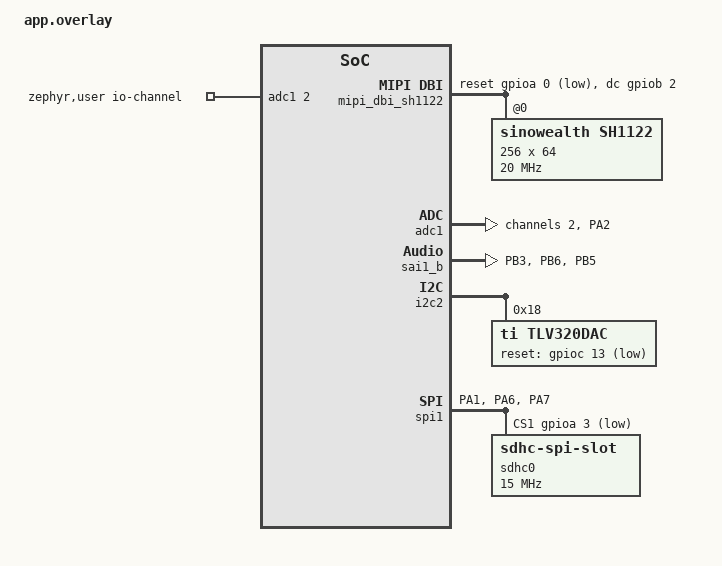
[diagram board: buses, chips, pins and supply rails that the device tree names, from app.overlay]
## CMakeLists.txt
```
cmake_minimum_required(VERSION 3.20.0)
set(CMAKE_EXPORT_COMPILE_COMMANDS ON)

set(BOARD blackpill_u585ci)

find_package(Zephyr REQUIRED HINTS $ENV{ZEPHYR_BASE})
project(stplayer)

aux_source_directory(src app_sources)

target_sources(app PRIVATE 
    src/main.c 
    src/sd_storage.c 
    src/opus_file.c 
    src/audio_playback.c
)
target_include_directories(app PRIVATE include)
```

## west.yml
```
manifest:
  remotes:
    - name: pdgendt
      url-base: https://github.com/pdgendt
  projects:
    - name: opus
      revision: zephyr
      path: modules/lib/opus
      remote: pdgendt
```

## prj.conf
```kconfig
# Audio
CONFIG_I2S=y
CONFIG_I2S_STM32_SAI=y
CONFIG_DMA=y
CONFIG_DMA_STM32U5=y

CONFIG_ADC=y
CONFIG_ADC_STM32=y

CONFIG_DMA_LOG_LEVEL_DBG=y
CONFIG_I2S_LOG_LEVEL_DBG=y
CONFIG_OPUS=y

CONFIG_AUDIO=y
CONFIG_AUDIO_CODEC_LOG_LEVEL_DBG=y
CONFIG_AUDIO_CODEC=y
CONFIG_I2C=y
CONFIG_I2C_STM32=y
CONFIG_GPIO=y
CONFIG_AUDIO_TLV320DAC=y

# Display
CONFIG_SPI_STM32=y
CONFIG_DISPLAY=y
CONFIG_SH1122=y
CONFIG_SH1122_DEFAULT_CONTRAST=128
CONFIG_MIPI_DBI_SPI=y

# LVGL stuff
CONFIG_LVGL=y
CONFIG_LV_Z_AREA_X_ALIGNMENT_WIDTH=2
CONFIG_LV_USE_LOG=y
CONFIG_LV_FONT_DEFAULT_MONTSERRAT_12=y
CONFIG_LV_Z_MEM_POOL_SIZE=16384
CONFIG_LV_CONF_MINIMAL=n
CONFIG_LV_USE_LABEL=y

# sd config
CONFIG_SPI=y

CONFIG_SDHC=y
CONFIG_SPI_SDHC=y

CONFIG_FILE_SYSTEM=y
CONFIG_FAT_FILESYSTEM_ELM=y
CONFIG_FS_FATFS_LFN=y

# Disk Access
CONFIG_DISK_ACCESS=y
CONFIG_DISK_DRIVERS=y
CONFIG_DISK_DRIVER_SDMMC=y

CONFIG_LOG=y
CONFIG_LOG_SPEED=y
CONFIG_LOG_BUFFER_SIZE=2000
CONFIG_CONSOLE=y
CONFIG_SERIAL=y
CONFIG_UART_CONSOLE=y

CONFIG_HEAP_MEM_POOL_SIZE=8000
CONFIG_MAIN_STACK_SIZE=16000
CONFIG_SYSTEM_WORKQUEUE_STACK_SIZE=4096
```

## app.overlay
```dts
// LSE and flash disabled since I don't need either. (lse is just burnt on my board :/)
&flash {
    status = "disabled";
};

&clk_lse {
	status = "disabled";
};

&pinctrl {
   adc1_in2: adc1-in2 {
       pinmux = <STM32_PINMUX('A', 2, ANALOG)>;
   };
   
   // SAI for i2s DAC
   pinctrl_sai1_bclk: sai1_b_bclk {
        pinmux = <STM32_PINMUX('B', 3, AF13)>/* bclk */; 
   };
   pinctrl_sai1_ws: sai1_b_ws {
        pinmux = <STM32_PINMUX('B', 6, AF13)> /* ws */ ; 
   };
   pinctrl_sai1_di: sai1_b_di {
        pinmux = <STM32_PINMUX('B', 5, AF13)>; // din
   };
  
   // SPI For display and SD card
   pinctrl_spi1_sck: spi1_pins_sck {
        pinmux = <STM32_PINMUX('A', 1, AF5)> /* sck */; 
   };
   pinctrl_spi1_miso: spi1_pins_miso {
        pinmux = <STM32_PINMUX('A', 6, AF5)> /* miso */; 
   };
   pinctrl_spi1_mosi: spi1_pins_mosi {
        pinmux = <STM32_PINMUX('A', 7, AF5)>; /* mosi */
   };
};

&adc1 {
    status = "okay";
    #address-cells = <1>;
    #size-cells = <0>;
    pinctrl-0 = <&adc1_in2>;


    channel@2 {
        reg = <2>; 
        zephyr,gain = "ADC_GAIN_1";
        zephyr,reference = "ADC_REF_INTERNAL";
        zephyr,acquisition-time = <ADC_ACQ_TIME_DEFAULT>;
        zephyr,resolution = <12>; 
        zephyr,input-positive = <2>;
    };
};

/* 
Setup for the audio device. This mcu uses a sai peripheral
*/
&gpdma1 {
    compatible = "st,stm32u5-dma";
    status = "okay";
};

&sai1_b {
    compatible = "st,stm32-sai";
    status = "okay";
    pinctrl-0 = <&pinctrl_sai1_bclk &pinctrl_sai1_ws &pinctrl_sai1_di>;
    pinctrl-names = "default";
    dma-names = "tx";
};

&i2c2 {
    status = "okay";

    codec0: tlv320dac@18 {
        compatible = "ti,tlv320dac";
        reg = <0x18>; 
        label = "TLV320DAC";
        reset-gpios = <&gpioc 13 GPIO_ACTIVE_LOW>;
        status = "okay";
    };
};


/*
SD card setup, uses the same spi as the display
*/
&spi1 {
    pinctrl-0 = <&pinctrl_spi1_sck &pinctrl_spi1_miso &pinctrl_spi1_mosi>;
    pinctrl-names = "default";
    status = "okay";

    cs-gpios = <&gpiob 1 GPIO_ACTIVE_LOW>, <&gpioa 3 GPIO_ACTIVE_LOW>;
    sdhc0: sdhc@1 {
        compatible = "zephyr,sdhc-spi-slot";
        status = "okay";
        reg = <1>;

        mmc {
            compatible = "zephyr,sdmmc-disk";
            status = "okay";
            disk-name = "SD";
        };
        spi-max-frequency = <15000000>;
    };
};


/ {
    chosen {
        zephyr,display = &sh1122;
    };
    zephyr,user {
        io-channels = <&adc1 2>;
    };

    mipi_dbi_sh1122: mipi_dbi_sh1122 {
        compatible = "zephyr,mipi-dbi-spi";
        spi-dev = <&spi1>;

        dc-gpios = <&gpiob 2 GPIO_ACTIVE_HIGH>;
        reset-gpios = <&gpioa 0 GPIO_ACTIVE_LOW>;
        
        write-only;
        #address-cells = <1>; 
        #size-cells = <0>;

        sh1122: sh1122@0 {
            compatible = "sinowealth,sh1122";
            mipi-max-frequency = <20000000>;
            reg = <0>;
            width = <256>;
            height = <64>;
            oscillator-freq = <0xA0>;
            multiplex-ratio = <63>;
            display-offset = <0>;
            start-line = <0>;
            low-voltage = <0x0>;
            dc-dc = <0x80>;
            precharge-voltage = <0x1A>;
            phase-length = <0x76>;
            vcomh-voltage = <0x3B>;
            mipi-mode = "MIPI_DBI_MODE_SPI_4WIRE";
        };
    };
    // pll2 setup for sai audio device 
    clocks {
        pll2: pll2 {
            compatible = "st,stm32u5-pll-clock";
            status = "okay";
            clocks = <&clk_hse>;
            div-m = <5>;
            mul-n = <59>;
            div-p = <6>;
            div-q = <2>;
            div-r = <2>;
        };
    };
};
```

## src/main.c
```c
#include <stddef.h>
#include <stdint.h>

#include <zephyr/kernel.h>
#include <zephyr/device.h>
#include <zephyr/devicetree.h>
#include <zephyr/logging/log.h>
#include <zephyr/drivers/i2s.h>
#include <zephyr/drivers/display.h>
#include <zephyr/drivers/adc.h>
#include <ff.h>

#include <lvgl.h>
#include <lvgl_zephyr.h>
#include <core/lv_obj_pos.h>
#include <core/lv_obj_style_gen.h>
#include <display/lv_display.h>
#include <misc/lv_area.h>
#include <misc/lv_color.h>

#include "sd_storage.h"
#include "audio_playback.h"

LOG_MODULE_REGISTER(main);

#define DISP_NODE DT_NODELABEL(sh1122)
static const struct device *disp;

static const struct adc_dt_spec adc_chan =ADC_DT_SPEC_GET(DT_PATH(zephyr_user));

#define AUDIO_THREAD_PRIO 1
#define INPUT_THREAD_PRIO 2

K_PIPE_DEFINE(pipe, 256, 4);

uint16_t read_potentiometer(const struct adc_dt_spec *adc_cha)
{
    int ret;
    uint16_t buf;
    struct adc_sequence sequence = {
        .buffer = &buf,
        .buffer_size = sizeof(buf),
        .oversampling = 4
    };

    if (!device_is_ready(adc_cha->dev)) {
        printk("ADC device not ready\n");
        return -1;
    }

    ret = adc_sequence_init_dt(adc_cha, &sequence);
    if (ret != 0) {
        printk("Failed to initialize ADC sequence: %d\n", ret);
        return ret;
    }

    ret = adc_read(adc_cha->dev, &sequence);
    if (ret != 0) {
        printk("Failed to read ADC: %d\n", ret);
        return ret;
    }

    return buf;
} 

int main(void)
{
    setup_disk();
	int ret;
    disp = DEVICE_DT_GET(DISP_NODE);
    if(!device_is_ready(disp)) {
        LOG_ERR("Display is not ready");
        return 1;
    }

    display_blanking_off(disp);
    
    lv_obj_clean(lv_screen_active());
    lv_obj_set_style_bg_color(lv_screen_active(), lv_color_black(), LV_PART_MAIN);
    lv_obj_set_style_text_color(lv_screen_active(), lv_color_white(), LV_PART_MAIN);

    lv_obj_t *list = lv_list_create(lv_screen_active());
    lv_obj_set_style_bg_color(list, lv_color_black(), 0);
    lv_obj_set_size(list, 256,64);

    populate_list_with_files(list);
    
    lv_refr_now(NULL);
    k_msleep(50);
    ret = adc_channel_setup_dt(&adc_chan);
    if (ret < 0) {
        return ret;
    }
     
    lv_obj_t *label = lv_label_create(lv_screen_active());
    lv_obj_align(label, LV_ALIGN_CENTER, 0, 0);

    audio_thread_msg audioMessage;

    audioMessage.msg_type = PLAY;
    strncpy(audioMessage.song_path, "/SD:/Ado - MIRROR.opus", sizeof(audioMessage.song_path));
    ret = k_pipe_write(&pipe, (uint8_t *) &audioMessage, sizeof(audioMessage), K_FOREVER);
    if (ret > 0) {
        LOG_INF("Wrote %d bytes", ret);
    } else if (ret != -EAGAIN) {
        LOG_ERR("Write error %d", ret);
    }
    
    while(1) {
        uint16_t volume = read_potentiometer(&adc_chan);
        audioMessage.msg_type = VOL;
        audioMessage.volume = volume;
        int ret = k_pipe_write(&pipe, (uint8_t *) &audioMessage, sizeof(audioMessage), K_FOREVER);
        if (ret > 0) {
        } else if (ret != -EAGAIN) {
            LOG_ERR("Write error %d", ret);
        }
        lv_timer_handler();

        lv_label_set_text_fmt(label, "%d", volume);
    }
    return 0;
}

K_THREAD_DEFINE(audio_tid, 20000, audio_handler_thread, &pipe, NULL, NULL, AUDIO_THREAD_PRIO, 0, 200);
```

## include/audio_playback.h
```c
#pragma once

#include <zephyr/kernel.h>
#include <zephyr/drivers/dma.h>
#include <zephyr/drivers/adc.h>
#include <opus.h>

#define SAMPLE_RATE 48000
#define SAMPLE_NO 2880
#define NUM_BLOCKS 2
#define CHANNELS 2
#define BLOCK_SIZE (SAMPLE_NO * CHANNELS * sizeof(int16_t))

#define I2S_DEV DT_NODELABEL(i2s3)

int stream_opus(const char *path, const struct adc_dt_spec *adc_chan);
int init_audio_playback();

void audio_handler_thread(void *pipeP, void *arg2, void *arg3);

enum message_type {PLAY, PAUSE, RESUME, VOL, DEF};

typedef struct {
    enum message_type msg_type;
    int volume;
    char song_path[64];
} audio_thread_msg;
```

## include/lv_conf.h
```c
#define LV_COLOR_DEPTH 16
#define LV_TICK_CUSTOM 1
```

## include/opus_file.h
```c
#pragma once

#include <zephyr/kernel.h>

#include <zephyr/fs/fs.h>
#include <zephyr/fs/fs_sys.h>
#include <zephyr/storage/flash_map.h>
#include <ff.h>

typedef struct {
    uint8_t segment_lengths[255];
    uint8_t page_segment_count;
    uint8_t segment_pos;
    uint8_t remaining_segments;

    _Bool is_eos_page;
} opus_state_t;

#define OGG_HEADER_SIZE 27
#define OPUS_HEAD_SIZE  19

#define OP_EOF   -1 // Eof for ogg file
#define OP_NOOGG -2 // Not ogg file
#define OP_MISS  -3 // Missmatching size
#define OP_NOOPUS -5 // File not opus
#define OP_NOTAGS -6 // Missing opus tags
#define OP_ZERO   -7 // zero length opus packet
#define OP_TOOLARGE -8 // Opus packet exceedes limit

#define OP_OK     1 // Success
#define OP_DONE   2 // Done reading ogg container

uint16_t opus_verify_header(struct fs_file_t* fp, opus_state_t *state);

void opus_state_init(opus_state_t *st);

int opus_get_packet(opus_state_t *st, uint8_t *buff, uint16_t *pack_size, struct fs_file_t *fp);
```

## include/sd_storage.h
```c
#pragma once

#include <stdint.h>
#include <zephyr/fs/fs.h>
#include <ff.h>
#include <lvgl.h>

bool is_mounted(void);

void setup_disk(void);
int populate_list_with_files(lv_obj_t *list);
```

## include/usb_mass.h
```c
#pragma once

#include <stdint.h>
#include <zephyr/fs/fs.h>
#include <ff.h>
#include <lvgl.h>

//#define STORAGE_PARTITION		    storage_partition
//#define STORAGE_PARTITION_ID		FIXED_PARTITION_ID(STORAGE_PARTITION)

bool is_mounted(void);

void setup_disk(void);
int populate_list_with_files(lv_obj_t *list);
```

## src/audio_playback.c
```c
#include "audio_playback.h"
#include "opus_defines.h"
#include "syscalls/kernel.h"
#include "zephyr/kernel.h"

#include <math.h>
#include <string.h>
#include <zephyr/logging/log.h>
#include <opus.h>
#include <zephyr/drivers/dma.h>
#include <zephyr/drivers/i2s.h>
#include <zephyr/audio/codec.h>
#include <zephyr/fs/fs.h>

#include "opus_file.h"

LOG_MODULE_REGISTER(audio_playback, LOG_LEVEL_DBG);

static const struct device *i2s_dev = DEVICE_DT_GET(DT_NODELABEL(sai1_b));

static uint8_t opus_packet[1275];
static opus_state_t op_state;
static struct fs_file_t filep;
OpusDecoder *decoder;

K_MEM_SLAB_DEFINE_STATIC(tx_0_mem_slab, WB_UP(BLOCK_SIZE), NUM_BLOCKS, 32);

static int start_i2s_dma() {
    LOG_INF("Pre-filling DMA buffers");
    int ret;
    
    for (int i = 0; i < 2; i++){
        void *init_block;
        ret = k_mem_slab_alloc(&tx_0_mem_slab, &init_block, K_FOREVER);
        if (ret < 0) {
            LOG_ERR("TX block alloc failed: %d\n", ret);
            return ret;
        }
        memset(init_block, 0, BLOCK_SIZE);

        ret = i2s_write(i2s_dev, init_block, BLOCK_SIZE);
        if (ret < 0) {
            LOG_ERR("i2s_write initial block failed: %d", ret);
            k_mem_slab_free(&tx_0_mem_slab, &init_block);
        }
    }

    LOG_INF("Starting i2s DMAs");
    ret = i2s_trigger(i2s_dev, I2S_DIR_TX, I2S_TRIGGER_START);
    if (ret) {
        LOG_ERR("I2S trigger start failed: %d", ret);
        return -1;
    }
    return 0;
}

static int stop_i2s_dma() {
    LOG_INF("Stopping i2s DMAs");
    int ret = i2s_trigger(i2s_dev, I2S_DIR_TX, I2S_TRIGGER_DRAIN);
    if (ret < 0) {
        LOG_ERR("Failed to stop i2s with drain: %d", ret);
        return ret;
    }
    return 0;
}

void play_opus_packet(bool *isPlaying, int discard_cnt, uint16_t volume) {
    void * block = NULL;
    uint16_t packet_size;
    int rcf = opus_get_packet(&op_state, opus_packet, &packet_size, &filep);
    if (rcf != OP_OK && rcf != OP_DONE) {
        fs_close(&filep);
        opus_decoder_ctl(decoder, OPUS_RESET_STATE);
        stop_i2s_dma();
        *isPlaying = false;
        return;
    }

    int rc = k_mem_slab_alloc(&tx_0_mem_slab, &block, K_FOREVER);
    if (rc < 0) {
        LOG_ERR("Block allocation failed: %d", rc);
        *isPlaying = false;
        return;
    }
    int oprc = opus_decode(decoder, opus_packet, packet_size, block, SAMPLE_NO, 0);

    if (discard_cnt > 0) {
        size_t discard_samples = discard_cnt * 2;

        if (discard_samples > (size_t)oprc) {
            LOG_ERR("Discard too large");
        }

        int16_t *audio_data = (int16_t *)block;
        memmove(audio_data, 
                audio_data + discard_samples,  // skip discards
                (oprc - discard_samples) * sizeof(int16_t));

        oprc -= discard_samples;
    }

    rc = i2s_write(i2s_dev, block, BLOCK_SIZE);
    if (rc < 0) {
        LOG_ERR("i2s_write failed: %d", rc);
        k_mem_slab_free(&tx_0_mem_slab, &block);
        *isPlaying = false;
        return;
    }

    // Done with file
    if (rcf == OP_DONE) {
        LOG_INF("Done with file");
        fs_close(&filep);
        opus_decoder_ctl(decoder, OPUS_RESET_STATE);
        stop_i2s_dma();
        *isPlaying = false;
        return;
    }
}

void audio_handler_thread(void *pipeP, void *arg2, void *arg3) {
    LOG_INF("Started audio");
    struct k_pipe* pipe = (struct k_pipe*) pipeP;
    int ret = init_audio_playback();
    if (ret < 0) {
        LOG_INF("Failed audio Init");
        return;
    }

    bool isPlaying = false;
    
    uint16_t discard_cnt = 0;
    uint16_t volume = 0;
    while(1) {
        audio_thread_msg receivedMessage;
        receivedMessage.msg_type = DEF;
        int ret = k_pipe_read(pipe, (uint8_t *) &receivedMessage, sizeof(audio_thread_msg), K_NSEC(1));
        if (ret < 0 && ret != -EAGAIN) {
            LOG_ERR("Read pipe error %d", ret);
        }

        switch(receivedMessage.msg_type) {
            case PLAY:
                // Set up a new opus file to be played
                int rc;
                isPlaying = true;
                fs_file_t_init(&filep);

                if ((rc = fs_open(&filep, receivedMessage.song_path, FS_O_READ)) < 0) {
                    LOG_ERR("fs_open failed: %d", rc); 
                    continue;
                }

                rc = start_i2s_dma();
                if (rc < 0) {
                    fs_close(&filep);
                    opus_decoder_ctl(decoder, OPUS_RESET_STATE);
                    stop_i2s_dma();
                    continue;
                }

                opus_state_init(&op_state);

                discard_cnt = opus_verify_header(&filep, &op_state); 
                if (discard_cnt < 0) {
                    fs_close(&filep);
                    stop_i2s_dma();
                }

                discard_cnt *= 2; 
            break;
            case VOL:
                volume = receivedMessage.volume; 
            break;
            case DEF:
            break;
            default:
                LOG_INF("Got message type %d", receivedMessage.msg_type);
            break;
        }

        if (isPlaying) {
            play_opus_packet(&isPlaying, discard_cnt, volume);
            // Discard count should be 0 after first packet
            if (discard_cnt > 0) discard_cnt = 0;
        }

    }
}
static const struct device *codec;
void codec_initialize(void) {
    codec = DEVICE_DT_GET(DT_NODELABEL(codec0));
    if(!device_is_ready(codec)) {
        LOG_ERR("CODEC not ready");
        return;
    }

    struct audio_codec_cfg cfg = {0};
    cfg.dai_route = AUDIO_ROUTE_PLAYBACK;
    cfg.dai_type = AUDIO_DAI_TYPE_I2S;
    cfg.mclk_freq = 12288000;

    cfg.dai_cfg.i2s.word_size = 16;
    cfg.dai_cfg.i2s.channels = CHANNELS;
    cfg.dai_cfg.i2s.format = I2S_FMT_DATA_FORMAT_I2S | I2S_FMT_DATA_ORDER_MSB;
    cfg.dai_cfg.i2s.options         = I2S_OPT_FRAME_CLK_SLAVE | I2S_OPT_BIT_CLK_SLAVE;
    cfg.dai_cfg.i2s.frame_clk_freq = SAMPLE_RATE;
    cfg.dai_cfg.i2s.block_size = BLOCK_SIZE;
    cfg.dai_cfg.i2s.mem_slab = &tx_0_mem_slab;
    
    int rc = audio_codec_configure(codec, &cfg);
    if (rc) {
        LOG_ERR("Audio configure failed: %d", rc);
        return;
    }    


    audio_codec_start_output(codec);
    
    audio_property_value_t v = {.vol = -40};
    rc = audio_codec_set_property(codec, AUDIO_PROPERTY_OUTPUT_VOLUME, AUDIO_CHANNEL_ALL, v);
    if(rc) {
        LOG_ERR("Failed to set volume");
        return;
    }
}

static int configure_i2s() {
    int ret;
    if (!device_is_ready(i2s_dev)) {
        LOG_ERR("I2S device not ready\n");
        return -1;
    }
    
    struct i2s_config cfg = {
        .word_size       = 16,
        .channels        = CHANNELS,
        .format          = I2S_FMT_DATA_FORMAT_I2S | I2S_FMT_DATA_ORDER_MSB,
        .options         = I2S_OPT_BIT_CLK_MASTER | I2S_OPT_FRAME_CLK_MASTER,
        .frame_clk_freq  = SAMPLE_RATE,
        .block_size      = BLOCK_SIZE,
        .timeout         = 2000,
        .mem_slab = &tx_0_mem_slab,
    };

    LOG_INF("Configuring I2S");
    
    ret = i2s_configure(i2s_dev, I2S_DIR_TX, &cfg);
    if (ret) {
        printk("I2S config failed: %d\n", ret);
        return -1;
    }

    return 0;
}

int init_audio_playback() { 
    int ret;
    decoder = opus_decoder_create(SAMPLE_RATE, CHANNELS, &ret);
    if (ret != OPUS_OK) {
        LOG_ERR("Failed to create decoder: %d", ret);
        return ret;
    }

    int size = opus_decoder_get_size(CHANNELS);
    LOG_INF("Opus decoder size: %d", size);

    ret = configure_i2s();
    if (ret < 0) {
        return ret;
    }

    codec_initialize();
    return 0;
}
```

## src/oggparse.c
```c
#include <zephyr/kernel.h>
#include <zephyr/logging/log.h>

LOG_MODULE_REGISTER(oggparse)

#define MAX_OPUS_PACKET_SIZE 2000
#define OGG_PAGE_HEADER_SIZE 27

struct ogg_parser {
    uint8_t state;
    uint8_t header[OGG_PAGE_HEADER_SIZE];
    uint8_t seg_table[255];
    size_t header_bytes;
    size_t seg_table_bytes;
    uint8_t nsegs;
    uint8_t current_seg;
    uint16_t current_seg_remaining;
    uint8_t packet_buf[MAX_OPUS_PACKET_SIZE];
    size_t packet_size;
    bool headers_done;
    uint32_t packet_count;
};

enum parser_state {
    STATE_HEADER,
    STATE_SEGMENT_TABLE,
    STATE_SEGMENTS
};


void ogg_parser_init(struct ogg_parser *p) {
    memset(p, 0, sizeof(*p));
    p->state = STATE_HEADER;
}
```

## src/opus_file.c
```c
#include "opus_file.h"
#include "zephyr/kernel.h"
#include "zephyr/logging/log_core.h"

#include <zephyr/logging/log.h>

LOG_MODULE_REGISTER(opus_file, LOG_LEVEL_DBG);

static uint8_t ogg_header[OGG_HEADER_SIZE];
uint16_t opus_verify_header(struct fs_file_t* fp, opus_state_t *state) {
    size_t rd = fs_read(fp, ogg_header, OGG_HEADER_SIZE);
    if (rd != OGG_HEADER_SIZE) {
        LOG_ERR("OGG header size read did not match: got %d : expected %d", (int) rd, OGG_HEADER_SIZE);
        return OP_MISS;
    }
    
    if (memcmp(ogg_header, "OggS", 4) != 0) {
        LOG_ERR("File is not valid OGG");
        return OP_NOOGG;
    }

    
    
    uint8_t segment_num = ogg_header[26];
 
    fs_seek(fp, segment_num, FS_SEEK_CUR);

    static uint8_t opus_head[OPUS_HEAD_SIZE];

    rd = fs_read(fp, opus_head, OPUS_HEAD_SIZE);
    if (rd != OPUS_HEAD_SIZE) {
        LOG_ERR("OPUSHEAD size read did not match: got %d : expected %d", (int) rd, OGG_HEADER_SIZE);
        return OP_MISS;
    }



    static const char opus_magic [] = "OpusHead";
    if (memcmp(opus_head, opus_magic, 8) != 0) {
        LOG_ERR("File is not an opus ogg");
        return OP_NOOPUS;
    }

    LOG_DBG("Stream version: %d", opus_head[8]);

    LOG_DBG("Channel count: %d", opus_head[9]);
    uint16_t discard_samples = ((uint16_t) opus_head[10]) | ((uint16_t)opus_head[11] << 8);
    LOG_DBG("Discard samples: %d", discard_samples);
    uint32_t sample_rate = ((uint32_t) opus_head[12]) | ((uint32_t) opus_head[13] << 8) | ((uint32_t) opus_head[14] << 16) | ((uint32_t) opus_head[15] << 24);
    LOG_DBG("Sample rate: %d", sample_rate);
    uint16_t output_gain = ((uint16_t) opus_head[16]) | ((uint16_t) opus_head[17] << 8);
    LOG_DBG("Output gain: %d", output_gain);
    
    rd = fs_read(fp, ogg_header, OGG_HEADER_SIZE);
    if (rd != OGG_HEADER_SIZE) {
        LOG_ERR("OGG header size read did not match: got %d : expected %d", (int) rd, OGG_HEADER_SIZE);
        return OP_MISS;
    }
    
    if (memcmp(ogg_header, "OggS", 4) != 0) {
        LOG_ERR("Second page is not valid OGG");
        return OP_NOOGG;
    }

    segment_num = ogg_header[26];

    char segment_table[segment_num];
    rd = fs_read(fp, segment_table, segment_num);
    if (rd != segment_num) {
        LOG_ERR("Did not read enough segment lengths");
        return OP_MISS;
    }
    
    uint16_t opus_tags_size = 0;
    for (uint8_t i = 0; i < segment_num; i++) {
        opus_tags_size += (uint8_t) segment_table[i];
    }

    
    char opus_tags[opus_tags_size];
    rd = fs_read(fp, opus_tags, (uint16_t) opus_tags_size);
    if (rd != opus_tags_size) {
        LOG_ERR("Did not read enough segment lengths for opusTags");
        return OP_MISS;
    }


    if(memcmp("OpusTags", opus_tags, 8) != 0) {
        LOG_ERR("OpusTags does not exist");
        return OP_NOTAGS;
    }
    
    uint32_t vendor_len = ((uint32_t) opus_tags[8]) | ((uint32_t) opus_tags[9] << 8) | ((uint32_t) opus_tags[10] << 16) | ((uint32_t) opus_tags[11] << 24);
    LOG_DBG("%.*s", vendor_len, opus_tags + 12);

    uint32_t new_ptr = 12 + vendor_len;

    uint32_t user_comment_count =((uint32_t) opus_tags[new_ptr]) | ((uint32_t) opus_tags[new_ptr + 1] << 8) | ((uint32_t) opus_tags[new_ptr + 2] << 16) | ((uint32_t) opus_tags[new_ptr + 3] << 24); 
    LOG_DBG("User comment count: %"PRIu32"", (uint32_t) user_comment_count);

    new_ptr += 4;
    
    LOG_DBG("User tags: ");
    for (uint32_t i = 0; i < user_comment_count; i++) {
        uint32_t comment_len = ((uint32_t) opus_tags[new_ptr]) | ((uint32_t) opus_tags[new_ptr + 1] << 8) | ((uint32_t) opus_tags[new_ptr + 2] << 16) | ((uint32_t) opus_tags[new_ptr + 3] << 24);
        new_ptr += 4;
        LOG_DBG("%.*s", comment_len, opus_tags + new_ptr);
        new_ptr += comment_len;
    }

    return discard_samples;
}

void opus_state_init(opus_state_t *st) {
    memset(st, 0, sizeof(opus_state_t));
}

static int _opus_open_page(opus_state_t *st, struct fs_file_t *fp) {
    size_t rd;
    rd = fs_read(fp, ogg_header, OGG_HEADER_SIZE);
    if(rd != OGG_HEADER_SIZE) {
        LOG_ERR("Failed to read OGG header");
        return OP_MISS;
    }

    if (memcmp("OggS", ogg_header, 4) != 0) {
        LOG_ERR("Next segment is not OggS stream");
        return OP_NOOGG;
    }
    uint8_t segment_count = ogg_header[26];

    uint8_t header_type = ogg_header[5];
    st->is_eos_page = (header_type & 0x04) != 0;
    if (st->is_eos_page) {
        LOG_DBG("Reached last stream page");
    }

    st->remaining_segments = segment_count;
    st->page_segment_count = segment_count;
    st->segment_pos = 0;

    rd = fs_read(fp, st->segment_lengths, segment_count);
    if (rd != segment_count) {
        LOG_ERR("Read segment count does not match real segment count");
        return OP_MISS;
    }

    return OP_OK;
}

int opus_get_packet(opus_state_t *st, uint8_t *buff, uint16_t *pack_size, struct fs_file_t *fp) {

    size_t rd;
    int res;
    
    // If we should start reading the next page
    if (st->remaining_segments == 0) {
        res = _opus_open_page(st, fp); 
        if (res < 0) return res;
    }
    
    uint16_t opus_len = 0;
    while(1) {
        if (st->remaining_segments == 0) {
            LOG_DBG("Page wrap occured");
            res = _opus_open_page(st, fp);
            if (res < 0) return res;
        }

        uint8_t seg = st->segment_lengths[st->segment_pos];
        opus_len += seg;

        st->remaining_segments -= 1;
        st->segment_pos += 1;

        if(st->segment_pos >= st->page_segment_count) {
            st->segment_pos = st->page_segment_count;
        }

        if (seg < 255) break;
    } 

    if (opus_len == 0) {
        LOG_ERR("Opus packet length 0");
        return OP_ZERO;
    }

    if(opus_len > 0xFFFF) {
        LOG_ERR("Opus packet exceeded RFC limit");
        return OP_TOOLARGE;
    }

    *pack_size = opus_len;
    
    rd = fs_read(fp, buff, opus_len);
    if (rd != opus_len) {
        LOG_ERR("Read bytes missmatch actual opus len:real  %d  vs  %d", rd, opus_len);
        return OP_MISS;
    }

    if (st->remaining_segments == 0 && st->is_eos_page) {
        return OP_DONE;
    }

    return OP_OK;
}
```

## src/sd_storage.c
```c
#include "sd_storage.h"

#include "core/lv_obj.h"
#include "misc/lv_color.h"
#include "zephyr/kernel.h"
#include "zephyr/logging/log.h"
#include <stdbool.h>
#include <stdint.h>
#include <zephyr/storage/disk_access.h>
#include <zephyr/fs/fs.h>
#include <zephyr/fs/fs_sys.h>
#include <zephyr/storage/flash_map.h>
#include <ff.h>

#include <zephyr/device.h>



LOG_MODULE_REGISTER(sd_storage, LOG_LEVEL_DBG);

static struct fs_mount_t fs_mnt;
static bool fs_mounted = false;

static void mount_handler(struct k_work *work);
static void unmount_handler(struct k_work *work);

K_WORK_DEFINE(mount_work, mount_handler);
K_WORK_DEFINE(unmount_work, unmount_handler);

bool is_mounted(void) {
    return fs_mounted;
}

static void mount_handler(struct k_work *work) {
    if(!fs_mounted) {
        LOG_INF("Mounting due to MSC suspend");
        int res = fs_mount(&fs_mnt);
        if (res != 0) {
            LOG_ERR("Failed to mount FS: %d", res);
            return;
        }
        fs_mounted = true;
    }
}

static void unmount_handler(struct k_work *work) {
    if(fs_mounted) {
        LOG_INF("Unmounting due to MSC connect");
        int res = fs_unmount(&fs_mnt);
        if(res != 0) {
            LOG_INF("Failed to mount fs: %d", res);
            return;
        }
        fs_mounted = false;
    }
}

static int mount_app_fs(struct fs_mount_t *mnt)
{
	int rc;

	static FATFS fat_fs;

	mnt->type = FS_FATFS;
	mnt->fs_data = &fat_fs;
	mnt->mnt_point = "/SD:";

	rc = fs_mount(mnt);
    fs_mounted = true;
    printk("fs_mount returned %d for mount point %s\n", rc, mnt->mnt_point);

	return rc;
}

void setup_disk(void)
{
	struct fs_mount_t *mp = &fs_mnt;
	struct fs_dir_t dir;
	int rc;

    
	fs_dir_t_init(&dir);


    rc = disk_access_ioctl("SD", DISK_IOCTL_CTRL_INIT, NULL);
    if (rc != 0) {
        LOG_ERR("Failed to init SD: %d", rc);
        return;
    }

	rc = mount_app_fs(mp);
    printk("mount_app_fs rc = %d\n", rc);
	if (rc < 0) {
		LOG_ERR("Failed to mount filesystem");
		return;
	}

	printk("Mount %s: %d\n", fs_mnt.mnt_point, rc);

	rc = fs_opendir(&dir, mp->mnt_point);
	printk("%s opendir: %d\n", mp->mnt_point, rc);

	if (rc < 0) {
		LOG_ERR("Failed to open directory");
	}

	while (rc >= 0) {
		struct fs_dirent ent = { 0 };

		rc = fs_readdir(&dir, &ent);
		if (rc < 0) {
			LOG_ERR("Failed to read directory entries");
			break;
		}
		if (ent.name[0] == 0) {
			printk("End of files\n");
			break;
		}
		printk("  %c %u %s\n",
		       (ent.type == FS_DIR_ENTRY_FILE) ? 'F' : 'D',
		       ent.size,
		       ent.name);
	}

	(void)fs_closedir(&dir);
}

int populate_list_with_files(lv_obj_t *list) {
    struct fs_dir_t dir;
    struct fs_mount_t *mp = &fs_mnt;
    int rc;

    fs_dir_t_init(&dir);

    rc = fs_opendir(&dir, mp->mnt_point);
    if (rc < 0) {
        LOG_ERR("Failed to open directory: %d", rc);
        return rc;
    }

    int file_count = 0;
    
    while (1) {
        struct fs_dirent ent = {0};
        
        rc = fs_readdir(&dir, &ent);
        if (rc < 0) {
            LOG_ERR("Failed to read directory entry");
            break;
        }
        
        if (ent.name[0] == 0) {
            break;
        }

        if (ent.type == FS_DIR_ENTRY_FILE) {

            lv_obj_t *list_item = lv_list_add_text(list, ent.name);
            lv_obj_set_style_bg_color(list_item, lv_color_black(), LV_PART_MAIN); 
            lv_obj_set_style_text_color(list_item, lv_color_white(), 0);
            
            file_count++;
            
            printk("Added file to list: %s\n", ent.name);
        }
    }

    fs_closedir(&dir);
    LOG_INF("Added %d files to list", file_count);
    return file_count;
}
```

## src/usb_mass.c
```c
#include "usb_mass.h"

#include "core/lv_obj.h"
#include "misc/lv_color.h"
#include "zephyr/kernel.h"
#include "zephyr/logging/log.h"
#include <stdbool.h>
#include <stdint.h>
#include <zephyr/storage/disk_access.h>
#include <zephyr/fs/fs.h>
#include <zephyr/fs/fs_sys.h>
#include <zephyr/storage/flash_map.h>
#include <ff.h>

#include <zephyr/device.h>



LOG_MODULE_REGISTER(usb_mass, LOG_LEVEL_DBG);

static struct fs_mount_t fs_mnt;
static bool fs_mounted = false;

static void mount_handler(struct k_work *work);
static void unmount_handler(struct k_work *work);

K_WORK_DEFINE(mount_work, mount_handler);
K_WORK_DEFINE(unmount_work, unmount_handler);

bool is_mounted(void) {
    return fs_mounted;
}

static void mount_handler(struct k_work *work) {
    if(!fs_mounted) {
        LOG_INF("Mounting due to MSC suspend");
        int res = fs_mount(&fs_mnt);
        if (res != 0) {
            LOG_ERR("Failed to mount FS: %d", res);
            return;
        }
        fs_mounted = true;
    }
}

static void unmount_handler(struct k_work *work) {
    if(fs_mounted) {
        LOG_INF("Unmounting due to MSC connect");
        int res = fs_unmount(&fs_mnt);
        if(res != 0) {
            LOG_INF("Failed to mount fs: %d", res);
            return;
        }
        fs_mounted = false;
    }
}

static int mount_app_fs(struct fs_mount_t *mnt)
{
	int rc;

	static FATFS fat_fs;

	mnt->type = FS_FATFS;
	mnt->fs_data = &fat_fs;
	mnt->mnt_point = "/SD:";

	rc = fs_mount(mnt);
    fs_mounted = true;
    printk("fs_mount returned %d for mount point %s\n", rc, mnt->mnt_point);

	return rc;
}

void setup_disk(void)
{
	struct fs_mount_t *mp = &fs_mnt;
	struct fs_dir_t dir;
	struct fs_statvfs sbuf;
	int rc;

    
	fs_dir_t_init(&dir);


    rc = disk_access_ioctl("SD", DISK_IOCTL_CTRL_INIT, NULL);
    if (rc != 0) {
        LOG_ERR("Failed to init SD: %d", rc);
        return;
    }

	rc = mount_app_fs(mp);
    printk("mount_app_fs rc = %d\n", rc);
	if (rc < 0) {
		LOG_ERR("Failed to mount filesystem");
		return;
	}

	/* Allow log messages to flush to avoid interleaved output */

	printk("Mount %s: %d\n", fs_mnt.mnt_point, rc);

	
//    rc = fs_statvfs(mp->mnt_point, &sbuf);
//    printk("fs_statvfs rc = %d\n", rc);
//	if (rc < 0) {
//		printk("FAIL: statvfs: %d\n", rc);
//		return;
//	}
//
//	printk("%s: bsize = %lu ; frsize = %lu ;"
//	       " blocks = %lu ; bfree = %lu\n",
//	       mp->mnt_point,
//	       sbuf.f_bsize, sbuf.f_frsize,
//	       sbuf.f_blocks, sbuf.f_bfree);

	rc = fs_opendir(&dir, mp->mnt_point);
	printk("%s opendir: %d\n", mp->mnt_point, rc);

	if (rc < 0) {
		LOG_ERR("Failed to open directory");
	}

	while (rc >= 0) {
		struct fs_dirent ent = { 0 };

		rc = fs_readdir(&dir, &ent);
		if (rc < 0) {
			LOG_ERR("Failed to read directory entries");
			break;
		}
		if (ent.name[0] == 0) {
			printk("End of files\n");
			break;
		}
		printk("  %c %u %s\n",
		       (ent.type == FS_DIR_ENTRY_FILE) ? 'F' : 'D',
		       ent.size,
		       ent.name);
	}

	(void)fs_closedir(&dir);

    return;
}

int populate_list_with_files(lv_obj_t *list) {
    struct fs_dir_t dir;
    struct fs_mount_t *mp = &fs_mnt;
    int rc;

    fs_dir_t_init(&dir);

    rc = fs_opendir(&dir, mp->mnt_point);
    if (rc < 0) {
        LOG_ERR("Failed to open directory: %d", rc);
        return rc;
    }

    // Clear existing list items if needed
    // lv_obj_clean(list); // Uncomment if you want to clear first

    int file_count = 0;
    
    while (1) {
        struct fs_dirent ent = {0};
        
        rc = fs_readdir(&dir, &ent);
        if (rc < 0) {
            LOG_ERR("Failed to read directory entry");
            break;
        }
        
        if (ent.name[0] == 0) {
            break;
        }

        if (ent.type == FS_DIR_ENTRY_FILE) {

            lv_obj_t *list_item = lv_list_add_text(list, ent.name);
            lv_obj_set_style_bg_color(list_item, lv_color_black(), LV_PART_MAIN); 
            lv_obj_set_style_text_color(list_item, lv_color_white(), 0);
            
            file_count++;
            
            printk("Added file to list: %s\n", ent.name);
        }
    }

    fs_closedir(&dir);
    LOG_INF("Added %d files to list", file_count);
    return file_count;
}
```
